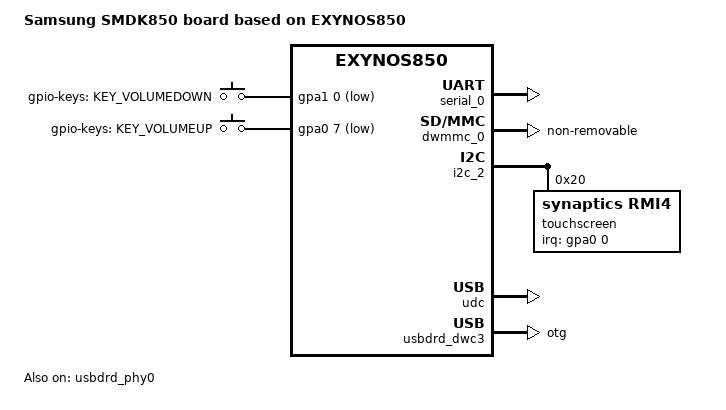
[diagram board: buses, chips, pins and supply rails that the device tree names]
/*
 * SAMSUNG EXYNOS3830 board device tree source
 *
 * Copyright (c) 2018 Samsung Electronics Co., Ltd.
 *		http://www.samsung.com
 *
 * This program is free software; you can redistribute it and/or modify
 * it under the terms of the GNU General Public License version 2 as
 * published by the Free Software Foundation.
*/

/dts-v1/;
#include "exynos3830.dts"

/ {
	compatible = "samsung,exynos850", "samsung,SMDK850";
	board_id = <0x0>;
	board_rev = <0x0>;

//	fragment@model {
//		target-path = "/";
//		__overlay__ {
			#address-cells = <2>;
			#size-cells = <1>;
			
			model = "Samsung SMDK850 board based on EXYNOS850";

			fixed-rate-clocks {
				oscclk {
					compatible = "samsung,exynos9630-oscclk";
					clock-frequency = <26000000>;
				};
			};

			firmware {
				android {
					compatible = "android,firmware";

					/* TODO: vbmeta */
					/*
					vbmeta {
						compatible = "android,vbmeta";
						parts = "vbmeta,boot,system,vendor,dtbo";
					};
					*/

					/* TODO: vendor early mount */
					/*
					fstab {
						compatible = "android,fstab";
						vendor {
							compatible = "android,vendor";
							dev = "/dev/block/platform/13600000.ufs/by-name/vendor";
							type = "ext4";
							mnt_flags = "ro";
							fsmgr_flags = "wait";
							fsmgr_flags = "wait,avb";
						};
					};
					*/
				};
			};

			gpio_keys {
				status = "okay";
				compatible = "gpio-keys";
				pinctrl-names = "default";
				pinctrl-0 = <&key_voldown &key_volup>;

				button@1 {
					label = "gpio-keys: KEY_VOLUMEDOWN";
					linux,code = <114>;
					gpios = <&gpa1 0 0xf>;
				};
				button@2 {
					label = "gpio-keys: KEY_VOLUMEUP";
					linux,code = <115>;
					gpios = <&gpa0 7 0xf>;
				};
			};

			usb_hs_tune:hs_tune {
				status = "disabled";
				hs_tune_cnt = <4>;
				/* value = <device host> */
				hs_tune1 {
					tune_name = "tx_pre_emp";
					tune_value = <0x3 0x3>;
				};

				hs_tune2 {
					tune_name = "tx_vref";
					tune_value = <0xc 0xc>;
				};

				hs_tune3 {
					tune_name = "rx_sqrx";
					tune_value = <0x5 0x5>;
				};

				hs_tune4 {
					tune_name = "utmi_clk";
					tune_value = <0x1 0x1>;
				};
			};
			usb_notifier {
				compatible = "samsung,usb-notifier";
				udc = <&udc>;
			};

			acpm_mfd_bus@11A50000 {
				status = "okay";
				#address-cells = <1>;
				#size-cells = <0>;
				s2mpu12mfd@00 {
					compatible = "samsung,s2mpu12mfd";
					acpm-ipc-channel = <2>;
					i2c-speedy-address;
					s2mpu12,wakeup = "enabled";
					reg = <0x00>;
					interrupts = <GIC_SPI INTREQ__PMIC IRQ_TYPE_LEVEL_HIGH>;
					pinctrl-names = "default";
					pinctrl-0 = <&pm_wrstbi>;
					/* RTC: wtsr/smpl */
					wtsr_en = "enabled"; /* enable */
					smpl_en = "enabled"; /* enable */
					wtsr_timer_val = <3>;	/* 1000ms */
					smpl_timer_val = <4>;	/* 500ms */
					check_jigon = <0>; /* do not check jigon */
					/* RTC: If it's first boot, reset rtc to 1/1/2019 12:00:00(Tue) */
					init_time,sec = <0>;
					init_time,min = <0>;
					init_time,hour = <12>;
					init_time,mday = <1>;
					init_time,mon = <0>;
					init_time,year = <119>;
					init_time,wday = <2>;

					s2mpu12-keys {
						button@1 {
							label = "pmic-keys: KEY_POWER";
							linux,code = <116>;
							wakeup = <1>;
							force_key_irq_en = <1>;
						};
					};

					regulators {
						b1_reg: BUCK1 {
							regulator-name = "vdd_cpu";
							regulator-min-microvolt = <500000>;
							regulator-max-microvolt = <1200000>;
							regulator-always-on;
							regulator-ramp-delay = <12000>;
							regulator-initial-mode = <3>;
						};

						b2_reg: BUCK2 {
							regulator-name = "vdd_gpu";
							regulator-min-microvolt = <500000>;
							regulator-max-microvolt = <1200000>;
							regulator-always-on;
							regulator-ramp-delay = <12000>;
							regulator-initial-mode = <3>;
						};
/*
						b3_reg: BUCK3 {
							regulator-name = "vdd_cp";
							regulator-min-microvolt = <500000>;
							regulator-max-microvolt = <1200000>;
							regulator-always-on;
							regulator-ramp-delay = <12000>;
							regulator-initial-mode = <3>;
						};
 */
						b4_reg: BUCK4 {
							regulator-name = "vdd_lldo";
							regulator-min-microvolt = <900000>;
							regulator-max-microvolt = <1500000>;
							regulator-always-on;
							regulator-ramp-delay = <12000>;
							regulator-initial-mode = <3>;
						};

						b5_reg: BUCK5 {
							regulator-name = "vdd_mldo";
							regulator-min-microvolt = <1800000>;
							regulator-max-microvolt = <2100000>;
							regulator-always-on;
							regulator-ramp-delay = <12000>;
							regulator-initial-mode = <3>;
						};

						l1_reg: LDO1 {
							regulator-name = "vdd_ldo1";
							regulator-min-microvolt = <700000>;
							regulator-max-microvolt = <1300000>;
							regulator-always-on;
							regulator-ramp-delay = <12000>;
							regulator-initial-mode = <3>;
						};

						l2_reg: LDO2 {
							regulator-name = "vdd_ldo2";
							regulator-min-microvolt = <1600000>;
							regulator-max-microvolt = <1950000>;
							regulator-always-on;
							regulator-ramp-delay = <12000>;
							regulator-initial-mode = <3>;
						};

						l3_reg: LDO3 {
							regulator-name = "vdd_ldo3";
							regulator-min-microvolt = <700000>;
							regulator-max-microvolt = <1300000>;
							regulator-always-on;
							regulator-ramp-delay = <12000>;
							regulator-initial-mode = <3>;
						};

						l4_reg: LDO4 {
							regulator-name = "vdd_ldo4";
							regulator-min-microvolt = <1600000>;
							regulator-max-microvolt = <1950000>;
							regulator-always-on;
							regulator-ramp-delay = <12000>;
							regulator-initial-mode = <3>;
						};

						l5_reg: LDO5 {
							regulator-name = "vdd_ldo5";
							regulator-min-microvolt = <700000>;
							regulator-max-microvolt = <1300000>;
							regulator-always-on;
							regulator-ramp-delay = <12000>;
							regulator-initial-mode = <3>;
						};

						l6_reg: LDO6 {
							regulator-name = "vdd_ldo6";
							regulator-min-microvolt = <500000>;
							regulator-max-microvolt = <1187500>;
							regulator-always-on;
							regulator-ramp-delay = <12000>;
							regulator-initial-mode = <3>;
						};

						l7_reg: LDO7 {
							regulator-name = "vdd_ldo7";
							regulator-min-microvolt = <700000>;
							regulator-max-microvolt = <1300000>;
							regulator-always-on;
							regulator-ramp-delay = <12000>;
							regulator-initial-mode = <3>;
						};

						l8_reg: LDO8 {
							regulator-name = "vdd_ldo8";
							regulator-min-microvolt = <500000>;
							regulator-max-microvolt = <1300000>;
							regulator-always-on;
							regulator-ramp-delay = <12000>;
							regulator-initial-mode = <3>;
						};

						l9_reg: LDO9 {
							regulator-name = "vdd_ldo9";
							regulator-min-microvolt = <500000>;
							regulator-max-microvolt = <1300000>;
							regulator-always-on;
							regulator-ramp-delay = <12000>;
							regulator-initial-mode = <3>;
						};

						l10_reg: LDO10 {
							regulator-name = "vdd_ldo10";
							regulator-min-microvolt = <1800000>;
							regulator-max-microvolt = <3375000>;
							regulator-always-on;
							regulator-ramp-delay = <12000>;
							regulator-initial-mode = <3>;
						};

						l11_reg: LDO11 {
							regulator-name = "vdd_ldo11";
							regulator-min-microvolt = <1800000>;
							regulator-max-microvolt = <3375000>;
							regulator-always-on;
							regulator-ramp-delay = <12000>;
							regulator-initial-mode = <3>;
						};
/*
						l12_reg: LDO12 {
							regulator-name = "vdd_ldo12";
							regulator-min-microvolt = <700000>;
							regulator-max-microvolt = <1300000>;
							regulator-always-on;
							regulator-ramp-delay = <12000>;
							regulator-initial-mode = <3>;
						};

						l13_reg: LDO13 {
							regulator-name = "vdd_ldo13";
							regulator-min-microvolt = <700000>;
							regulator-max-microvolt = <1300000>;
							regulator-always-on;
							regulator-ramp-delay = <12000>;
							regulator-initial-mode = <3>;
						};

						l14_reg: LDO14 {
							regulator-name = "vdd_ldo14";
							regulator-min-microvolt = <1600000>;
							regulator-max-microvolt = <1950000>;
							regulator-always-on;
							regulator-ramp-delay = <12000>;
							regulator-initial-mode = <3>;
						};

						l15_reg: LDO15 {
							regulator-name = "vdd_ldo15";
							regulator-min-microvolt = <1800000>;
							regulator-max-microvolt = <3375000>;
							regulator-always-on;
							regulator-ramp-delay = <12000>;
							regulator-initial-mode = <3>;
						};

						l16_reg: LDO16 {
							regulator-name = "vdd_ldo16";
							regulator-min-microvolt = <1800000>;
							regulator-max-microvolt = <3375000>;
							regulator-always-on;
							regulator-ramp-delay = <12000>;
							regulator-initial-mode = <3>;
						};

						l17_reg: LDO17 {
							regulator-name = "vdd_ldo17";
							regulator-min-microvolt = <700000>;
							regulator-max-microvolt = <1300000>;
							regulator-always-on;
							regulator-ramp-delay = <12000>;
							regulator-initial-mode = <3>;
						};

						l18_reg: LDO18 {
							regulator-name = "vdd_ldo18";
							regulator-min-microvolt = <700000>;
							regulator-max-microvolt = <1300000>;
							regulator-always-on;
							regulator-ramp-delay = <12000>;
							regulator-initial-mode = <3>;
						};

						l19_reg: LDO19 {
							regulator-name = "vdd_ldo19";
							regulator-min-microvolt = <700000>;
							regulator-max-microvolt = <1300000>;
							regulator-always-on;
							regulator-ramp-delay = <12000>;
							regulator-initial-mode = <3>;
						};

						l20_reg: LDO20 {
							regulator-name = "vdd_ldo20";
							regulator-min-microvolt = <1600000>;
							regulator-max-microvolt = <1950000>;
							regulator-always-on;
							regulator-ramp-delay = <12000>;
							regulator-initial-mode = <3>;
						};

						l21_reg: LDO21 {
							regulator-name = "vdd_ldo21";
							regulator-min-microvolt = <1800000>;
							regulator-max-microvolt = <3375000>;
							regulator-always-on;
							regulator-ramp-delay = <12000>;
							regulator-initial-mode = <3>;
						};

						l22_reg: LDO22 {
							regulator-name = "vdd_ldo22";
							regulator-min-microvolt = <1800000>;
							regulator-max-microvolt = <3375000>;
							regulator-always-on;
							regulator-ramp-delay = <12000>;
							regulator-initial-mode = <3>;
						};
 */
						l23_reg: LDO23 {
							regulator-name = "vdd_ldo23";
							regulator-min-microvolt = <1800000>;
							regulator-max-microvolt = <3375000>;
							regulator-always-on;
							regulator-ramp-delay = <12000>;
							regulator-initial-mode = <3>;
						};

						l24_reg: LDO24 {
							regulator-name = "vdd_ldo24";
							regulator-min-microvolt = <1800000>;
							regulator-max-microvolt = <3375000>;
							regulator-always-on;
							regulator-ramp-delay = <12000>;
							regulator-initial-mode = <3>;
						};

						l25_reg: LDO25 {
							regulator-name = "vdd_ldo25";
							regulator-min-microvolt = <1800000>;
							regulator-max-microvolt = <3375000>;
							regulator-always-on;
							regulator-ramp-delay = <12000>;
							regulator-initial-mode = <3>;
						};

						l26_reg: LDO26 {
							regulator-name = "vdd_ldo26";
							regulator-min-microvolt = <1800000>;
							regulator-max-microvolt = <3375000>;
							regulator-always-on;
							regulator-ramp-delay = <12000>;
							regulator-initial-mode = <3>;
						};

						l27_reg: LDO27 {
							regulator-name = "vdd_ldo27";
							regulator-min-microvolt = <1800000>;
							regulator-max-microvolt = <3375000>;
							regulator-always-on;
							regulator-ramp-delay = <12000>;
							regulator-initial-mode = <3>;
						};

						l28_reg: LDO28 {
							regulator-name = "vdd_ldo28";
							regulator-min-microvolt = <1600000>;
							regulator-max-microvolt = <1950000>;
							regulator-always-on;
							regulator-ramp-delay = <12000>;
							regulator-initial-mode = <3>;
						};


						l29_reg: LDO29 {
							regulator-name = "vdd_ldo29";
							regulator-min-microvolt = <700000>;
							regulator-max-microvolt = <1300000>;
							regulator-always-on;
							regulator-ramp-delay = <12000>;
							regulator-initial-mode = <3>;
						};

						l30_reg: LDO30 {
							regulator-name = "vdd_ldo30";
							regulator-min-microvolt = <1600000>;
							regulator-max-microvolt = <1950000>;
							regulator-always-on;
							regulator-ramp-delay = <12000>;
							regulator-initial-mode = <3>;
						};

						l31_reg: LDO31 {
							regulator-name = "vdd_ldo31";
							regulator-min-microvolt = <1800000>;
							regulator-max-microvolt = <3375000>;
							regulator-always-on;
							regulator-ramp-delay = <12000>;
							regulator-initial-mode = <3>;
						};

						l32_reg: LDO32 {
							regulator-name = "vdd_ldo32";
							regulator-min-microvolt = <1800000>;
							regulator-max-microvolt = <3375000>;
							regulator-always-on;
							regulator-ramp-delay = <12000>;
							regulator-initial-mode = <3>;
						};

						l33_reg: LDO33 {
							regulator-name = "vdd_aldo1";
							regulator-min-microvolt = <1600000>;
							regulator-max-microvolt = <1950000>;
							regulator-always-on;
							regulator-ramp-delay = <12000>;
							regulator-initial-mode = <3>;
						};

						l34_reg: LDO34 {
							regulator-name = "vdd_aldo2";
							regulator-min-microvolt = <1800000>;
							regulator-max-microvolt = <3375000>;
							regulator-always-on;
							regulator-ramp-delay = <12000>;
							regulator-initial-mode = <3>;
						};

						l35_reg: LDO35 {
							regulator-name = "vdd_ldo_core";
							regulator-min-microvolt = <1600000>;
							regulator-max-microvolt = <1950000>;
							regulator-always-on;
							regulator-ramp-delay = <12000>;
							regulator-initial-mode = <3>;
						};

						l36_reg: LDO36 {
							regulator-name = "vdd_ldo_buf";
							regulator-min-microvolt = <700000>;
							regulator-max-microvolt = <1300000>;
							regulator-always-on;
							regulator-ramp-delay = <12000>;
							regulator-initial-mode = <3>;
						};
					}; /* end of regulators */
				}; /* end of s2mpu12mfd@00 */
			}; /* end of acpm_mfd_bus@11a10000 */
//		}; /* end of __overlay__ */
//	}; /* end of fragment */
}; /* end of root */

&serial_0 {
	status = "okay";
};

&pinctrl_0 {
	attn_irq: attn-irq {
		samsung,pins = "gpa0-0";
		samsung,pin-function = <0xf>;
		samsung,pin-pud = <0>;
		samsung,pin-drv = <0>;
	};

	attn_input: attn-input {
		samsung,pins = "gpa0-0";
		samsung,pin-function = <0>;
		samsung,pin-pud = <1>;
	};

	key_voldown: key-voldown {
		samsung,pins = "gpa1-0";
		samsung,pin-function = <0xf>;
		samsung,pin-pud = <0>;
		samsung,pin-drv = <0>;
	};

	key_volup: key-volup {
		samsung,pins = "gpa0-7";
		samsung,pin-function = <0xf>;
		samsung,pin-pud = <0>;
		samsung,pin-drv = <0>;
	};

	dwmmc2_cd_ext_irq: dwmmc2_cd_ext_irq {
		samsung,pins = "gpa0-3";
		samsung,pin-function = <0xf>;
		samsung,pin-pud = <3>;
		samsung,pin-drv = <4>;
	};
};

&panel_0 {
    /* reset, power */
    gpios = <&gpg2 5 0x1>, <&gpg1 1 0x1>;
};

&dwmmc_0 {
	status = "okay";
	num-slots = <1>;
	broken-cd;
	fixed_voltage;
	supports-highspeed;
	mmc-ddr-1_8v;
	mmc-hs200-1_8v;
	mmc-hs400-1_8v;
	supports-8bit;
	supports-cmd23;
	supports-erase;
	supports-hs400-enhanced-strobe;
	card-init-hwacg-ctrl;
	fifo-depth = <0x40>;
	non-removable;
	desc-size = <4>;
	card-detect-delay = <200>;
	samsung,dw-mshc-ciu-div = <3>;
	samsung,dw-mshc-txdt-crc-timer-fastlimit = <0x13>;
	samsung,dw-mshc-txdt-crc-timer-initval = <0x15>;
	samsung,dw-mshc-hs400-delay-line = <0x60>;
	samsung,dw-mshc-sdr-timing = <3 0 4 0>;
	samsung,dw-mshc-ddr-timing = <3 0 4 2>;
	samsung,dw-mshc-hs200-timing = <3 0 3 0>;
	samsung,dw-mshc-hs400-timing = <1 0 2 0>;
	samsung,dw-mshc-hs400-ulp-timing = <3 0 2 0>;

	num-ref-clks = <12>;
	ciu_clkin = <25 50 50 25 50 100 200 50 50 200 200 200>;

	/* Swapping clock drive strength */
	clk-drive-number = <4>;
	pinctrl-names = "default",
		"fast-slew-rate-1x",
		"fast-slew-rate-2x",
		"fast-slew-rate-3x",
		"fast-slew-rate-4x";
	pinctrl-0 = <&sd0_clk &sd0_cmd &sd0_rdqs &sd0_bus1 &sd0_bus4 &sd0_bus8>;
	pinctrl-1 = <&sd0_clk_fast_slew_rate_1x>;
	pinctrl-2 = <&sd0_clk_fast_slew_rate_2x>;
	pinctrl-3 = <&sd0_clk_fast_slew_rate_3x>;
	pinctrl-4 = <&sd0_clk_fast_slew_rate_4x>;

	slot@0 {
		reg = <0>;
		bus-width = <8>;
	};

};

&dwmmc_2 {
	#address-cells = <1>;
	#size-cells = <0>;
	status = "disabled";
	num-slots = <1>;
	supports-4bit;
	supports-cmd23;
	supports-erase;
	supports-highspeed;
	sd-uhs-sdr50;
	sd-uhs-sdr104;
	card-detect-gpio;
	bypass-for-allpass;
	use-fine-tuning;
	card-init-hwacg-ctrl;
	skip-init-mmc-scan;
	fifo-depth = <0x40>;
	desc-size = <4>;
	card-detect-delay = <200>;
	samsung,dw-mshc-ciu-div = <3>;
	clock-frequency = <800000000>;
	samsung,dw-mshc-sdr-timing = <3 0 2 0>;
	samsung,dw-mshc-ddr-timing = <3 0 2 1>;
	samsung,dw-mshc-sdr50-timing = <3 0 4 2>;
	samsung,dw-mshc-sdr104-timing = <3 0 3 0>;

	num-ref-clks = <9>;
	ciu_clkin = <25 50 50 25 50 100 200 50 50>;

	/* Swapping clock drive strength */
	clk-drive-number = <6>;
	pinctrl-names = "default",
		"fast-slew-rate-1x",
		"fast-slew-rate-1_5x",
		"fast-slew-rate-2x",
		"fast-slew-rate-2_5x",
		"fast-slew-rate-3x",
		"fast-slew-rate-4x",
		"pins-as-pdn",
		"pins-as-func";
	pinctrl-0 = <&sd2_clk &sd2_cmd &sd2_bus1 &sd2_bus4 &dwmmc2_cd_ext_irq>;
	pinctrl-1 = <&sd2_clk_fast_slew_rate_1x>;
	pinctrl-2 = <&sd2_clk_fast_slew_rate_1_5x>;
	pinctrl-3 = <&sd2_clk_fast_slew_rate_2x>;
	pinctrl-4 = <&sd2_clk_fast_slew_rate_2_5x>;
	pinctrl-5 = <&sd2_clk_fast_slew_rate_3x>;
	pinctrl-6 = <&sd2_clk_fast_slew_rate_4x>;
	pinctrl-7 = <&sd2_pins_as_pdn>;
	pinctrl-8 = <&sd2_clk &sd2_cmd &sd2_bus1 &sd2_bus4>;

	card-detect = <&gpa0 3 0xf>;
	slot@0 {
		reg = <0>;
		bus-width = <4>;
		disable-wp;
	};
};

&pinctrl_5 {
	pm_wrstbi: pm-wrstbi {
		samsung,pins = "gpg1-7";
		samsung,pin-con-pdn = <3>;
	};

	vdd_on: vdd-on {
		samsung,pins = "gpg2-6";
		samsung,pin-function = <1>;
		samsung,pin-val = <1>;
		samsung,pin-pud = <3>;
		samsung,pin-drv = <3>;
	};

	vdd_off: vdd-off {
		samsung,pins = "gpg2-6";
		samsung,pin-functon = <1>;
		samsung,pin-val = <0>;
		samsung,pin-pud = <1>;
		samsung,pin-drv = <3>;
	};
};

&i2c_2 {
	status = "okay";
	#address-cells = <1>;
	#size-cells = <0>;
	touchscreen@20 {
		compatible = "synaptics,rmi4";
		reg = <0x20>;
		pinctrl-names = "on_state", "off_state";
		pinctrl-0 = <&attn_irq &vdd_on>;
		pinctrl-1 = <&attn_input &vdd_off>;
		synaptics,irq_gpio = <&gpa0 0 0>;
		synaptics,irq_type = <8200>;
		synaptics,max_coords = <1440 2560>;     /* x y */
		synaptics,num_lines = <29 16>;          /* rx tx */
		synaptics,regulator_avdd = "vdd_ldo27";
	};
};

&udc {
	status = "okay";
};

&usbdrd_dwc3 {
	dr_mode = "otg";
	maximum-speed = "high-speed";
	snps,quirk-frame-length-adjustment = <0x20>;
	snps,u1u2_exitfail_quirk;
	/* ux_exit_in_px should be defined in MK, LT */
	snps,ux_exit_in_px_quirk;
	/* elastic_buf_mode_quirk should be defined in MK */
	snps,elastic_buf_mode_quirk;
	/* usb3-lpm-capable;
	snps,usb3_lpm_capable;
	adj-sof-accuracy = <1>; */
	/*
	 * dis-u2-freeclk-exists-quirk, dis_u2_susphy_quirk are alternative.
	 * One of them should be selected
	 */
	snps,dis-u2-freeclk-exists-quirk;
	/*snps,dis_u2_susphy_quirk;*/

	usb_audio_offloading = <0>;
//	abox = <&abox>; /* Temporary block */
};

&usbdrd_phy0 {
	status = "okay";
	usb3phy-isolation= <1>;
	pinctrl-names = "default";
//	pinctrl-0 = <&phy_port>;
//	phy,gpio_phy_port = <&gpg0 4 0x0>;
//	hs_tune_param = <&usb_hs_tune>;
//	ss_tune_param = <&usb_ss_tune>;
};
